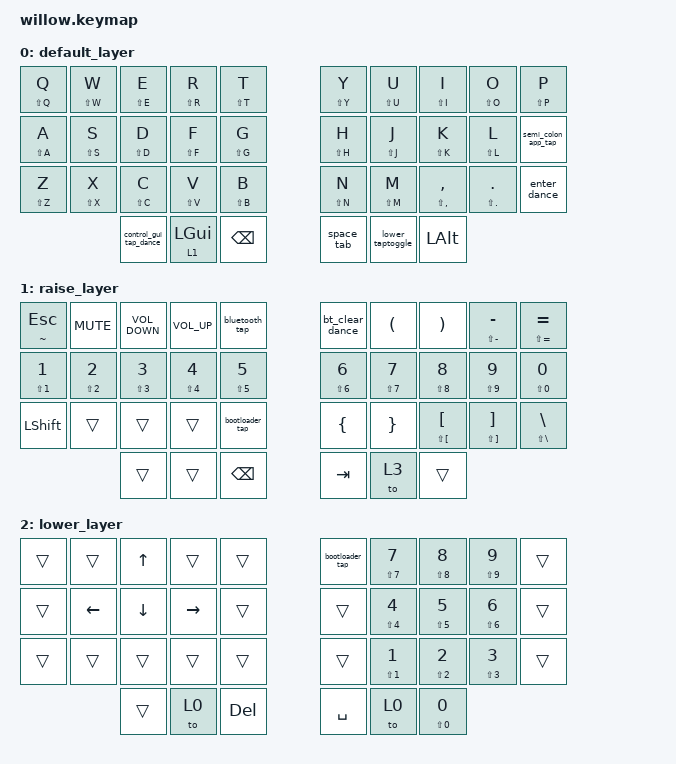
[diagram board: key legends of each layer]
#include <behaviors.dtsi>
#include <dt-bindings/zmk/bt.h>
#include <dt-bindings/zmk/keys.h>

#define DEFAULT 0
#define LOWER   1
#define RAISE   2

/ {
    combos { compatible = "zmk,combos"; };

    behaviors {
        enter_dance: enter_dance {
            compatible = "zmk,behavior-tap-dance";
            label = "ENTER_DANCE";
            #binding-cells = <0>;
            bindings =
                <&auto_shift_short QUESTION ENTER>,
                <&auto_shift_short LS(ENTER) SLASH>;

            tapping-term-ms = <200>;
        };

        space_tab: space_tab {
            compatible = "zmk,behavior-tap-dance";
            label = "SPACE_TAB";
            #binding-cells = <0>;
            bindings = <&kp SPACE>, <&kp TAB>;
        };

        lower_taptoggle: lower_taptoggle {
            compatible = "zmk,behavior-tap-dance";
            label = "LOWER_TAPTOGGLE";
            #binding-cells = <0>;
            bindings = <&mo 2>, <&to 2>;
        };

        bluetooth_tap: bluetooth_tap {
            compatible = "zmk,behavior-tap-dance";
            label = "BLUETOOTH_TAP";
            #binding-cells = <0>;
            bindings =
                <&bt BT_SEL 0>,
                <&bt BT_SEL 1>,
                <&bt BT_SEL 2>,
                <&bt BT_SEL 3>,
                <&bt BT_SEL 4>;
        };

        bootloader_tap: bootloader_tap {
            compatible = "zmk,behavior-tap-dance";
            label = "BOOTLOADER_TAP";
            #binding-cells = <0>;
            bindings = <&none>, <&bootloader>;
        };

        auto_shift: auto_shift {
            compatible = "zmk,behavior-hold-tap";
            label = "AUTO_SHIFT";
            bindings = <&kp>, <&kp>;

            #binding-cells = <2>;
            flavor = "tap-preferred";
            tapping-term-ms = <150>;
        };

        semi_colon_app_tap: semi_colon_app_tap {
            compatible = "zmk,behavior-tap-dance";
            label = "SEMI_COLON_APP_TAP";
            #binding-cells = <0>;
            bindings =
                <&auto_shift_short LS(SEMI) SEMI>,
                <&auto_shift_short LS(APOSTROPHE) APOSTROPHE>;

            tapping-term-ms = <200>;
        };

        control_gui_tap_dance: control_gui_tap_dance {
            compatible = "zmk,behavior-tap-dance";
            label = "CONTROL_GUI_TAP_DANCE";
            #binding-cells = <0>;
            bindings = <&kp LEFT_CONTROL>, <&kp LEFT_GUI>;
        };

        auto_shift_short: auto_shift_short {
            compatible = "zmk,behavior-hold-tap";
            label = "AUTO_SHIFT_SHORT";
            bindings = <&kp>, <&kp>;

            #binding-cells = <2>;
            tapping-term-ms = <100>;
            flavor = "tap-preferred";
        };

        bt_clear_dance: bt_clear_dance {
            compatible = "zmk,behavior-tap-dance";
            label = "BT_CLEAR_DANCE";
            #binding-cells = <0>;
            bindings = <&none>, <&bt BT_CLR>;
        };
    };

    keymap {
        compatible = "zmk,keymap";

        default_layer {
            bindings = <
&auto_shift LS(Q) Q  &auto_shift LS(W) W  &auto_shift LS(E) E     &auto_shift LS(R) R  &auto_shift LS(T) T    &auto_shift LS(Y) Y  &auto_shift LS(U) U  &auto_shift LS(I) I          &auto_shift LS(O) O      &auto_shift LS(P) P
&auto_shift LS(A) A  &auto_shift LS(S) S  &auto_shift LS(D) D     &auto_shift LS(F) F  &auto_shift LS(G) G    &auto_shift LS(H) H  &auto_shift LS(J) J  &auto_shift LS(K) K          &auto_shift LS(L) L      &semi_colon_app_tap
&auto_shift LS(Z) Z  &auto_shift LS(X) X  &auto_shift LS(C) C     &auto_shift LS(V) V  &auto_shift LS(B) B    &auto_shift LS(N) N  &auto_shift LS(M) M  &auto_shift LS(COMMA) COMMA  &auto_shift LS(DOT) DOT  &enter_dance
                                          &control_gui_tap_dance  &lt 1 LEFT_GUI       &kp BACKSPACE          &space_tab           &lower_taptoggle     &kp LEFT_ALT
            >;
        };

        raise_layer {
            bindings = <
&auto_shift TILDE ESCAPE           &kp K_MUTE                         &kp C_VOLUME_DOWN                  &kp C_VOLUME_UP                    &bluetooth_tap           &bt_clear_dance                    &kp LEFT_PARENTHESIS   &kp RIGHT_PARENTHESIS                      &auto_shift LS(MINUS) MINUS                  &auto_shift LS(EQUAL) EQUAL
&auto_shift LS(NUMBER_1) NUMBER_1  &auto_shift LS(NUMBER_2) NUMBER_2  &auto_shift LS(NUMBER_3) NUMBER_3  &auto_shift LS(NUMBER_4) NUMBER_4  &auto_shift LS(N5) N5    &auto_shift LS(NUMBER_6) NUMBER_6  &auto_shift LS(N7) N7  &auto_shift LS(N8) N8                      &auto_shift LS(N9) N9                        &auto_shift LS(N0) N0
&kp LEFT_SHIFT                     &trans                             &trans                             &trans                             &bootloader_tap          &kp LEFT_BRACE                     &kp RIGHT_BRACE        &auto_shift LS(LEFT_BRACKET) LEFT_BRACKET  &auto_shift LS(RIGHT_BRACKET) RIGHT_BRACKET  &auto_shift LS(BACKSLASH) BACKSLASH
                                                                      &trans                             &trans                             &kp BACKSPACE            &kp TAB                            &to 3                  &trans
            >;
        };

        lower_layer {
            bindings = <
&trans  &trans    &kp UP_ARROW  &trans     &trans        &bootloader_tap  &auto_shift LS(N7) N7              &auto_shift LS(N8) N8              &auto_shift LS(N9) N9              &trans
&trans  &kp LEFT  &kp DOWN      &kp RIGHT  &trans        &trans           &auto_shift LS(NUMBER_4) NUMBER_4  &auto_shift LS(N5) N5              &auto_shift LS(NUMBER_6) NUMBER_6  &trans
&trans  &trans    &trans        &trans     &trans        &trans           &auto_shift LS(NUMBER_1) NUMBER_1  &auto_shift LS(NUMBER_2) NUMBER_2  &auto_shift LS(NUMBER_3) NUMBER_3  &trans
                  &trans        &to 0      &kp DELETE    &kp SPACE        &to 0                              &auto_shift LS(N0) N0
            >;
        };
    };
};
